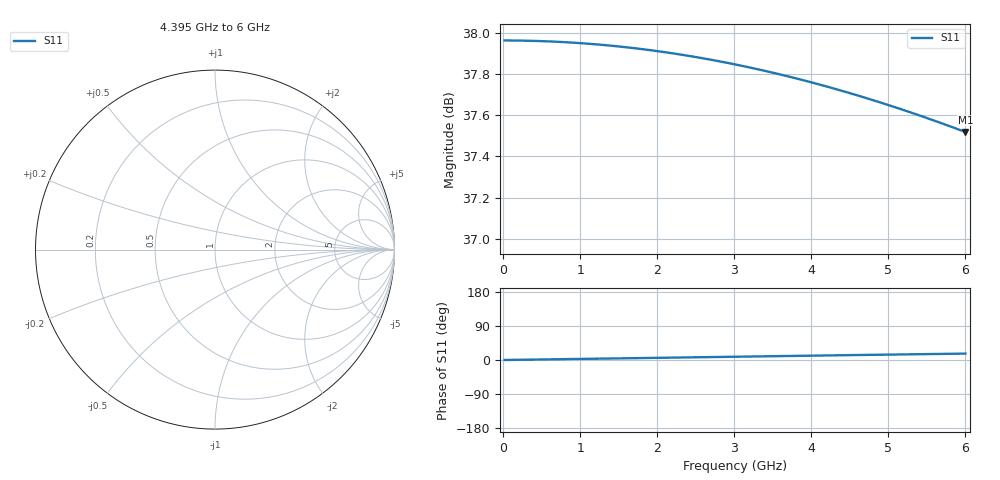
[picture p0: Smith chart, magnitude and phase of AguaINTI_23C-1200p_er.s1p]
! NanoVNA-UTN-Toolkit permittivity export -- NOT S-parameters
! ES: Permitividad relativa compleja de la muestra. NO es S11: se guarda en
! ES: formato Touchstone solo para poder graficarla con visores de .s1p.
! EN: Complex relative permittivity of the sample. NOT S11: the Touchstone
! EN: format is used only so that .s1p viewers can plot it.
! Columns / Columnas: f (Hz) | eps' | eps'' (loss >= 0); eps_r = eps' - j*eps''
! Sample / Muestra: Agua23C-1200p
! Technique / Tecnica: Open-ended coaxial probe (liquids)
! References / Referencias: water + ipa
! Probe / Sonda: 3 mm probe (C0 0.019 pF)
! Temperature / Temperatura: 23.0 °C
! Reliable from 45 MHz: points below are not reliable / Confiable desde 45 MHz: los puntos inferiores no son confiables
! Spike removal replaced 1 isolated S11 point(s) before solving / La remocion de picos reemplazo 1 punto(s) aislado(s) de S11
! 2 point(s) without a solution omitted / 2 punto(s) sin solucion omitidos
! Exported / Exportado: 2026-10-23T18:49:50
# Hz S RI R 50
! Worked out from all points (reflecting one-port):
!   1198 points, 15 MHz to 6 GHz, reference 50 ohm
!   lowest |S11| = 37.5 dB at 6 GHz (marker M1)
!   phase of S11 starts at 0 deg and turns +17 deg over the sweep
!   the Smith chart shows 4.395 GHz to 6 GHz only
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1.5e7  79.1 0.0605
4e7  79.1 0.1614
2.15e8  79.09 0.8676
3.9e8  79.07 1.573
5.75e8  79.03 2.318
7.65e8  78.97 3.082
9.5e8  78.9 3.824
1.14e9  78.81 4.583
1.325e9  78.71 5.319
1.515e9  78.59 6.072
1.7e9  78.46 6.802
1.885e9  78.32 7.527
2.07e9  78.16 8.248
2.26e9  77.98 8.983
2.445e9  77.8 9.693
2.635e9  77.59 10.42
2.82e9  77.38 11.11
3.01e9  77.15 11.82
3.38e9  76.65 13.19
3.76e9  76.09 14.55
4.13e9  75.5 15.85
4.505e9  74.86 17.13
4.885e9  74.17 18.39
5.255e9  73.45 19.57
5.485e9  72.99 20.29
5.715e9  72.51 20.99
5.975e9  71.96 21.76
6e9  71.91 21.84
